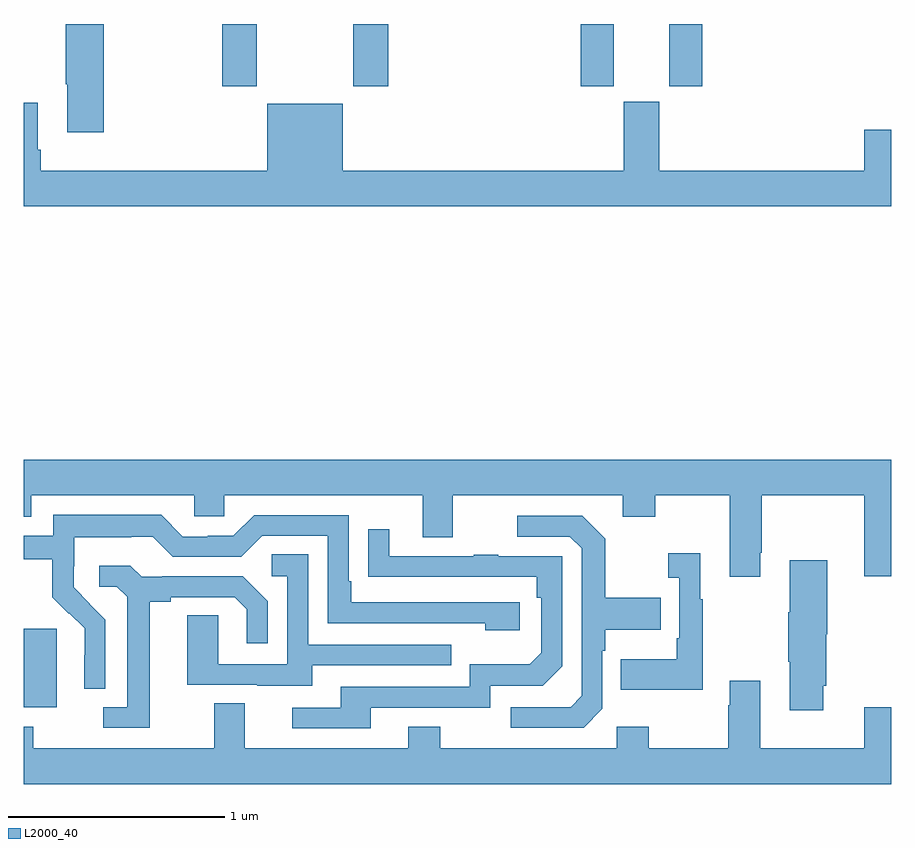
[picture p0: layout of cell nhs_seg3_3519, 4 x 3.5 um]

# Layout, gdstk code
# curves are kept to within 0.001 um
import gdstk
lib = gdstk.Library(unit=1e-6, precision=1e-09)
def R(c, l, rs):  # rectangles x0, y0, x1, y1
    for r in rs: c.add(gdstk.rectangle(r[:2], r[2:], *l))
def P(c, l, *ps):  # polygons
    for p in ps: c.add(gdstk.Polygon(p, *l))
L2000_40 = (2000, 40)

nhs_seg3_3519 = lib.new_cell('nhs_seg3_3519')
R(nhs_seg3_3519, L2000_40, [(293,721.25,293.152,721.611), (293.915,724.113,294.075,724.4), (294.52,724.113,294.68,724.4), (295.568,724.113,295.72,724.4), (295.976,724.113,296.129,724.4)])
P(nhs_seg3_3519, L2000_40, [(293.369,724.4),(293.194,724.4),(293.194,724.123),(293.201,724.123),(293.201,723.9),(293.369,723.9)],
  [(297,723.913),(296.876,723.913),(296.876,723.724),(295.93,723.724),(295.93,724.041),(295.766,724.041),(295.766,723.724),(294.472,723.724),(294.472,724.033),(294.122,724.033),(294.122,723.724),(293.078,723.724),(293.078,723.82),(293.065,723.82),(293.065,724.036),(293,724.036),(293,723.56),(297,723.56)],
  [(296.395,721.963),(296.403,721.963),(296.403,722.228),(296.876,722.228),(296.876,721.854),(297,721.854),(297,722.392),(293,722.392),(293,722.129),(293.035,722.129),(293.035,722.228),(293.787,722.228),(293.787,722.13),(293.925,722.13),(293.925,722.228),(294.839,722.228),(294.839,722.034),(294.979,722.034),(294.979,722.228),(295.763,722.228),(295.763,722.129),(295.911,722.129),(295.911,722.228),(296.255,722.228),(296.255,721.851),(296.395,721.851)],
  [(293.376,721.654),(293.23,721.802),(293.23,721.899),(293.232,721.899),(293.232,722.033),(293.495,722.033),(293.495,722.037),(293.595,722.037),(293.688,721.944),(294.003,721.944),(294.099,722.04),(294.402,722.04),(294.402,721.638),(295.127,721.638),(295.127,721.604),(295.288,721.604),(295.288,721.734),(294.511,721.734),(294.511,721.831),(294.498,721.831),(294.498,722.136),(294.063,722.136),(293.967,722.04),(293.849,722.04),(293.849,722.037),(293.733,722.037),(293.633,722.137),(293.136,722.137),(293.136,722.04),(293,722.04),(293,721.932),(293.131,721.932),(293.131,721.757),(293.208,721.68),(293.211,721.683),(293.282,721.613),(293.282,721.49),(293.28,721.49),(293.28,721.336),(293.376,721.336)],
  [(295.668,721.242),(295.668,721.511),(295.681,721.511),(295.681,721.607),(295.937,721.607),(295.937,721.755),(295.681,721.755),(295.681,722.027),(295.575,722.133),(295.275,722.133),(295.275,722.037),(295.518,722.037),(295.572,721.983),(295.572,721.302),(295.521,721.251),(295.245,721.251),(295.245,721.155),(295.581,721.155)],
  [(294.601,721.248),(295.152,721.248),(295.152,721.35),(295.392,721.35),(295.482,721.44),(295.482,721.947),(295.187,721.947),(295.187,721.952),(295.075,721.952),(295.075,721.947),(294.685,721.947),(294.685,722.071),(294.589,722.071),(294.589,721.852),(295.366,721.851),(295.366,721.754),(295.386,721.754),(295.386,721.5),(295.333,721.447),(295.056,721.447),(295.056,721.344),(294.461,721.344),(294.461,721.248),(294.237,721.248),(294.237,721.152),(294.601,721.152)],
  [(296.131,721.747),(296.119,721.747),(296.119,721.96),(295.971,721.96),(295.971,721.847),(296.022,721.847),(296.022,721.567),(296.01,721.567),(296.01,721.471),(295.753,721.471),(295.753,721.331),(296.131,721.331)],
  [(294.331,721.443),(294.971,721.443),(294.971,721.539),(294.312,721.539),(294.312,721.955),(294.144,721.955),(294.144,721.854),(294.216,721.854),(294.216,721.449),(293.898,721.449),(293.898,721.673),(293.753,721.673),(293.753,721.353),(294.077,721.353),(294.077,721.349),(294.331,721.349)],
  [(296.686,721.348),(296.699,721.348),(296.699,721.587),(296.704,721.587),(296.704,721.927),(296.531,721.927),(296.531,721.687),(296.524,721.687),(296.524,721.459),(296.531,721.459),(296.531,721.236),(296.686,721.236)],
  [(293.581,721.736),(293.677,721.736),(293.677,721.758),(293.972,721.758),(294.029,721.701),(294.029,721.545),(294.126,721.545),(294.126,721.738),(294.01,721.854),(293.638,721.854),(293.638,721.851),(293.544,721.851),(293.492,721.903),(293.349,721.903),(293.349,721.806),(293.43,721.806),(293.477,721.759),(293.477,721.251),(293.367,721.251),(293.367,721.155),(293.581,721.155)],
  [(297,721.249),(296.876,721.249),(296.876,721.06),(296.395,721.06),(296.395,721.372),(296.255,721.372),(296.255,721.259),(296.248,721.259),(296.248,721.06),(295.881,721.06),(295.881,721.159),(295.734,721.159),(295.734,721.06),(294.921,721.06),(294.921,721.159),(294.773,721.159),(294.773,721.06),(294.019,721.06),(294.019,721.268),(293.879,721.268),(293.879,721.06),(293.043,721.06),(293.043,721.159),(293,721.159),(293,720.896),(297,720.896)])

lib.write_gds('nhs_seg3_3519.gds')
